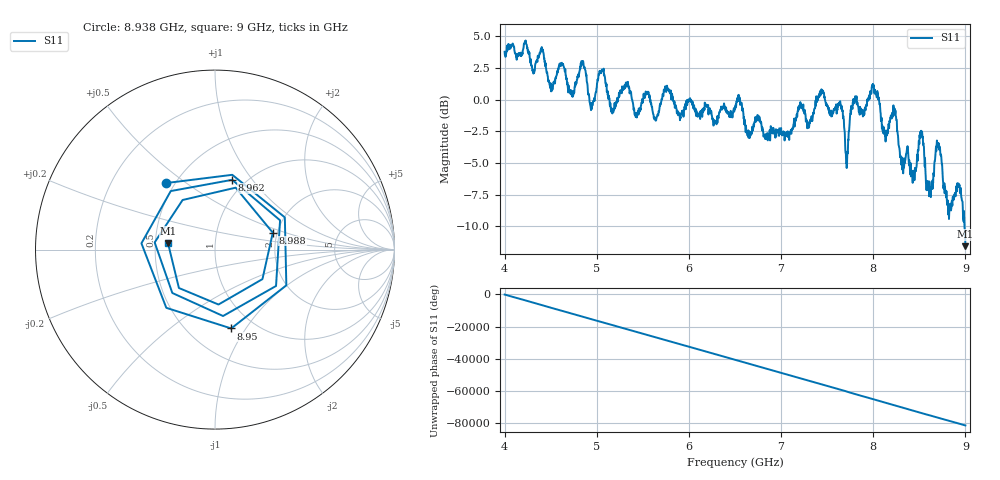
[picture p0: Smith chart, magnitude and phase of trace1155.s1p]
! Created with skrf 1.8.0 (http://scikit-rf.org).
# Hz S RI R 50.0
!freq ReS11 ImS11
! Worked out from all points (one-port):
!   1601 points, 4 GHz to 9 GHz, reference 50 ohm
!   lowest |S11| = -11.6 dB at 9 GHz (marker M1), VSWR 1.72, Z = 29.2 + j2.21 ohm
!   |S11| at or under -10 dB: 8.990374 GHz to end of sweep
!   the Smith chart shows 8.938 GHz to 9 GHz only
!   S11 on the Smith chart (normalised r, x): 8.938 GHz: 0.45, +0.42; 8.95 GHz: 0.78, -0.86; 8.962 GHz: 0.87, +0.80; 8.988 GHz: 1.89, +0.40; 9 GHz: 0.58, +0.04
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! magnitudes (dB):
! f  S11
! 4 GHz  3.8
! 4.509 GHz  0.7
! 4.625 GHz  2.8
! 4.731 GHz  0.3
! 4.85 GHz  3.1
! 4.944 GHz  -0.3
! 5.05 GHz  2.2
! 5.166 GHz  -1.1
! 5.25 GHz  0.5
! 5.875 GHz  -0.9
! 6.5 GHz  -0.6
! 7.125 GHz  -2.2
! 7.441 GHz  0.5
! 7.644 GHz  -0.2
! 7.709 GHz  -5.0
! 7.75 GHz  -1.1
! 8.009 GHz  0.5
! 8.375 GHz  -4.1
! 8.444 GHz  -5.6
! 8.525 GHz  -2.5
! 8.619 GHz  -7.0
! 8.703 GHz  -3.5
! 8.825 GHz  -8.9
! 8.938 GHz  -6.7
! 8.95 GHz  -7.0
! 8.962 GHz  -8.0
! 8.988 GHz  -9.5
! 9 GHz  -11.6
